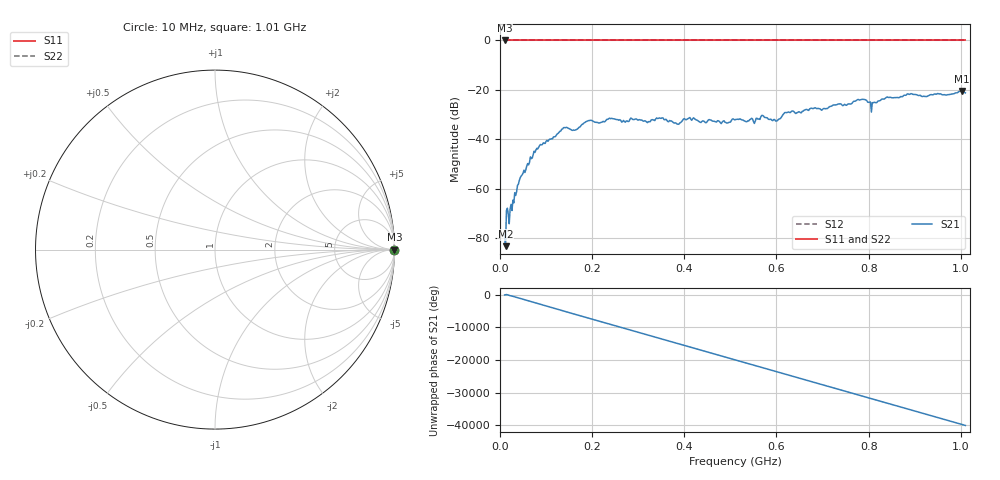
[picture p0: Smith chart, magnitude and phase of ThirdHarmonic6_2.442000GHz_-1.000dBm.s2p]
! 8/17/2025 4:18:23 AM
! C:\ANRITSUVNA\TEMP\TEMP.S2P
! CHANNEL.1
! TR.MEASUREMENT
! RAW.DATA
! RF.CORRECTION.OFF
! AVERAGING.OFF
! IF.BANDWIDTH: 5KHZ
! SWEEPTYPE:  FREQ.SWEEP(Linear)
! Reference Plane Port Info
! PORT:  PORT1  PORT2
! DISTANCE:  0  m  0  m
! TIME:  0  s  0  s
! PHASE.OFFSET:  0  deg.  0  deg.
! LOSS:  0  dB  0  dB
! REF.LOSS:  0  dB  0  dB
! REF.FREQ:  0  Hz  0  Hz
! Power Info
! POWER:  -20  dBm  -20  dBm
! EFF.POWER:  -20  dBm  -20  dBm
! SOURCE.ATTEN:  0  dB  0  dB
! TEST.ATTEN:  0  dB  0  dB
# GHZ S RI R 50.0
! FREQ.GHZ  S11RE  S11IM  S21RE  S21IM  S12RE  S12IM  S22RE  S22IM
!; PortSelection: Port_12
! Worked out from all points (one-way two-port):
!   501 points, 10 MHz to 1.01 GHz, reference 50 ohm
!   highest |S21| = -20.47 dB at 1.002 GHz (marker M1); lowest = -83.2 dB at 12 MHz (marker M2)
!   lowest |S11| = 0.0 dB at 10 MHz (marker M3)
!   |S11| at or under -10 dB: nowhere
!   |S22| runs from 0.0 to 0.0 dB; largest |S21 - S12| = 1.1
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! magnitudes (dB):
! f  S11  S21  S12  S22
! 10 MHz  0.0  -78.3  0.0  0.0
! 12 MHz  0.0  -83.2  0.0  0.0
! 42 MHz  0.0  -56.6  0.0  0.0
! 76 MHz  0.0  -45.3  0.0  0.0
! 138 MHz  0.0  -35.3  0.0  0.0
! 162 MHz  0.0  -36.3  0.0  0.0
! 178 MHz  0.0  -34.0  0.0  0.0
! 240 MHz  0.0  -31.6  0.0  0.0
! 322 MHz  0.0  -32.9  0.0  0.0
! 344 MHz  0.0  -31.5  0.0  0.0
! 386 MHz  0.0  -33.9  0.0  0.0
! 410 MHz  0.0  -31.3  0.0  0.0
! 510 MHz  0.0  -32.1  0.0  0.0
! 570 MHz  0.0  -30.3  0.0  0.0
! 602 MHz  0.0  -32.4  0.0  0.0
! 622 MHz  0.0  -29.2  0.0  0.0
! 678 MHz  0.0  -27.5  0.0  0.0
! 786 MHz  0.0  -23.8  0.0  0.0
! 810 MHz  0.0  -25.2  0.0  0.0
! 844 MHz  0.0  -23.1  0.0  0.0
! 1.002 GHz  0.0  -20.5  0.0  0.0
! 1.01 GHz  0.0  -21.2  0.0  0.0
